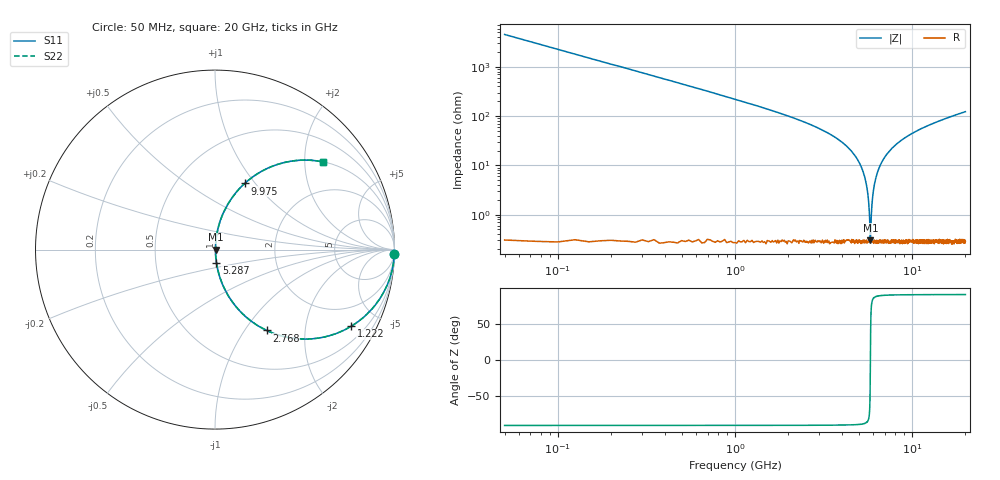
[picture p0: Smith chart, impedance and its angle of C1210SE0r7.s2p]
! AVX Thin Film Operation		Date: April 2012
! Description: Accu-P® Series, Thin Film, SMD, RF Capacitor
! Part Number: 12101J0R7PBTTR
!	100	MHz	-	20.05	GHz
!	Serial	Measurements
#	MHZ	S	MA	R	50
!	S11	S21	S12	S22
!	dB	Phase	dB	Phase	dB	Phase	dB	Phase
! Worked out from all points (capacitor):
!   801 points, 50 MHz to 20 GHz, reference 50 ohm
!   read as one part in series: C = 701 fF near 149.8 MHz
!   lowest |Z| = 300 mohm at 5.811 GHz (marker M1)
!   series resonance near 5.815 GHz, so ESL is about 1.1 nH
!   S11 on the Smith chart (normalised r, x): 50 MHz: -0, -91; 1.222 GHz: 1.01, -3.56; 2.768 GHz: 1.01, -1.27; 5.287 GHz: 1.01, -0.15; 9.975 GHz: 1.01, +0.89; 20 GHz: 1.01, +2.46
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50  1 -1.3  0.022 88.7  0.022 88.7  1 -1.3
224.563  0.995 -5.6  0.098 84.3  0.098 84.3  0.995 -5.6
424.063  0.983 -10.6  0.184 79.3  0.184 79.3  0.983 -10.6
1222.063  0.871 -29.3  0.49 60.6  0.49 60.6  0.871 -29.3
2768.188  0.535 -57.4  0.842 32.4  0.842 32.4  0.535 -57.4
3391.625  0.404 -65.8  0.912 23.8  0.912 23.8  0.404 -65.8
4588.625  0.183 -78.6  0.98 10.6  0.98 10.6  0.183 -78.6
5286.875  0.074 -83.6  0.994 4.3  0.994 4.3  0.074 -83.6
5561.188  0.035 -83.3  0.997 2.0  0.997 2.0  0.035 -83.3
5660.938  0.021 -81.1  0.997 1.2  0.997 1.2  0.021 -81.1
5735.75  0.011 -74.6  0.997 0.6  0.997 0.6  0.011 -74.6
5810.563  0.002916 -12.8  0.997 0.0  0.997 0.0  0.002916 -12.8
5885.375  0.00975 72.5  0.997 -0.5  0.997 -0.5  0.00975 72.5
6010.063  0.026 82.2  0.997 -1.5  0.997 -1.5  0.026 82.2
6134.75  0.042 83.7  0.996 -2.4  0.996 -2.4  0.042 83.7
6708.313  0.111 82.2  0.991 -6.4  0.991 -6.4  0.111 82.2
7905.313  0.236 75.7  0.969 -13.7  0.969 -13.7  0.236 75.7
9975.125  0.404 65.8  0.912 -23.8  0.912 -23.8  0.404 65.8
10025  0.407 65.6  0.911 -24.0  0.911 -24.0  0.407 65.6
13366.62  0.588 53.8  0.807 -36.0  0.807 -36.0  0.588 53.8
16683.31  0.701 45.3  0.711 -44.5  0.711 -44.5  0.701 45.3
20000  0.775 39.0  0.63 -50.8  0.63 -50.8  0.775 39.0
